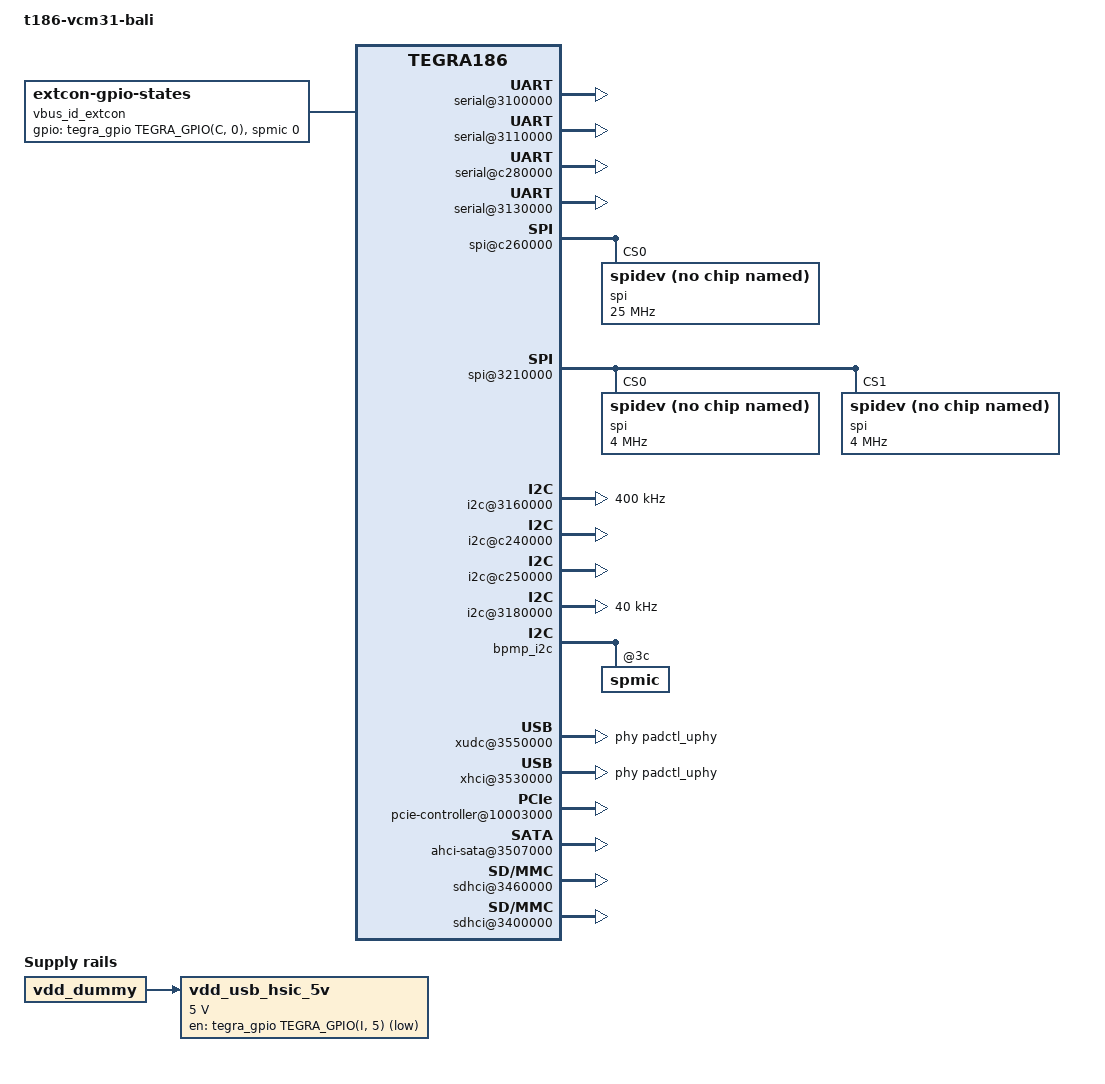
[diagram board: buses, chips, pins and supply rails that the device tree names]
/*
 * tegra186-vcm31-bali-common.dtsi: VCM3.1 based bali(sunstreaker)
 * common dtsi.
 *
 * Copyright (c) 2015, NVIDIA CORPORATION.  All rights reserved.
 *
 * This program is free software; you can redistribute it and/or modify
 * it under the terms of the GNU General Public License as published by
 * the Free Software Foundation; version 2 of the License.
 *
 * This program is distributed in the hope that it will be useful, but WITHOUT
 * ANY WARRANTY; without even the implied warranty of MERCHANTABILITY or
 * FITNESS FOR A PARTICULAR PURPOSE.  See the GNU General Public License for
 * more details.
 */

#include <dt-bindings/types.h>
/dts-v1/;

/memreserve/ 0x80000000 0x00010000;

#include "tegra186-platforms/tegra186-vcm31.dtsi"
#include "tegra186-vcm31-bali-disp.dtsi"
#include "tegra186-platforms/tegra186-vcm31-power-tree-bali.dtsi"

/ {
        model = "t186-vcm31-bali";
        compatible = "nvidia,t186-vcm31-bali", "nvidia,tegra186";

        nvidia,dtbbuildtime = __DATE__, __TIME__;
        #address-cells = <2>;
        #size-cells = <2>;

	pmc@c360000 {
		io-pad-defaults {
			sdmmc1-hv {
				nvidia,enable-dynamic-pad-voltage;
			};
			sdmmc3-hv {
				nvidia,enable-dynamic-pad-voltage;
			};
		};
	};

        serial@3100000 { /* Tegra UARTA: CSB */
		compatible = "nvidia,tegra186-hsuart";
                status = "okay";
        };

        serial@3110000 { /* Tegra UARTB: DEBUG */
		compatible = "nvidia,tegra210-uart";
                status = "okay";
        };

	serial@c280000 { /* TEGRA UARTC: Bluetooth */
		compatible = "nvidia,tegra186-hsuart";
		nvidia,adjust-baud-rates = <115200 170
					    3000000 170>;
		status = "okay";
	};

	serial@3130000 { /* Tegra UARTD: RH */
		compatible = "nvidia,tegra186-hsuart";
		status = "okay";
	};

	spi@c260000 { /* Tegra SPI1: RH, slave */
		status = "okay";
		compatible = "nvidia,tegra186-spi-slave";
		spi@0 {
			compatible = "spidev";
			/* reg = <0> - CS0 */
			/* reg = <1> - CS1 */
			reg = <0>;
			spi-max-frequency = <25000000>;
			spi-cpha;
			spi-cpol;
		};
	};

	spi@3210000 { /* Tegra SPI2: master */
		status = "okay";
		spi@0 {				/* gyro */
			compatible = "spidev";
			reg = <0>;
			spi-max-frequency = <4000000>;
			spi-cpha;
			spi-cpol;
			/* NOTE: spidev does not use this property */
			interrupts = <&tegra_gpio TEGRA_GPIO(EE,2) 0>;
		};
		spi@1 {				/* acc */
			compatible = "spidev";
			reg = <1>;
			spi-max-frequency = <4000000>;
			spi-cpha;
			spi-cpol;
			/* NOTE: spidev does not use this property */
			interrupts = <&tegra_gpio TEGRA_GPIO(U,5) 0>;
		};

	};

	i2c@3160000 { /* Tegra I2C1 (I2CA) */
		status = "okay";
		clock-frequency = <400000>;
		max9291@84 {	/* instrument */
			reg = <0x42>;
			compatible = "dummy";
		};
		tmp451@4c {	/* thermal sensor */
			reg = <0x26>;
			compatible = "dummy";
		};
		usb-hsic@58 {
			reg = <0x2c>;
			compatible = "dummy";
		};
		usb-hsic@5c {
			reg = <0x2e>;
			compatible = "dummy";
		};
	};

	i2c@c240000 { /* Tegra I2C2 (I2CB) */
		status = "okay";
		nvidia,clock-always-on;
		max9293@80 {	/* central display */
			reg = <0x40>;
			compatible = "dummy";
		};
	};

	i2c@c250000 { /* Tegra I2C8 (I2CC) */
		status = "okay";
		max9288@d0 {	/* RVC/parkman */
			reg = <0x68>;
			compatible = "dummy";
		};
		max9288@d4 {	/* AR camera   */
			reg = <0x6a>;
			compatible = "dummy";
		};
		max9288@d8 {
			reg = <0x6c>;
			compatible = "dummy";
		};
	};

	i2c@3180000 { /* Tegra I2C3 (I2CD) */
		status = "okay";
		clock-frequency = <40000>;
		apple {
			reg = <0x20>;
			compatible = "dummy";
		};
	};



	fixed-regulators {
		vdd_usb0_5v: regulator@7 {
			/delete-property/ enable-active-high;
			/delete-property/ gpio-open-drain;
		};

		vdd_usb1_5v: regulator@8 {
			/delete-property/ enable-active-high;
			/delete-property/ gpio-open-drain;
		};

		vdd_wlan1_bt: regulator@99 {
			status = "okay";
			gpio = <&tegra_gpio TEGRA_GPIO(N, 3) 0
				&tegra_gpio TEGRA_GPIO(X, 6) 0 >;
		};
		vdd_wlan2: regulator@98 {
			status = "okay";
			gpio = <&tegra_gpio TEGRA_GPIO(X, 4) 0>;
		};

                vdd_usb_hsic_5v: regulator@97 {
                        compatible = "regulator-fixed";
                        reg = <97>;
                        regulator-name = "vdd-usb-hsic-5v";
                        regulator-min-microvolt = <5000000>;
                        regulator-max-microvolt = <5000000>;
                        gpio = <&tegra_gpio TEGRA_GPIO(I, 5) 0>;
                        vin-supply = <&vdd_dummy>;
                };
	};

	padctl_uphy: pinctrl@3520000 {
		status = "okay";
		pinctrl-0 = <&bali_uphy_default>;
		pinctrl-names = "default";
		vbus-1-supply = <&vdd_usb0_5v>;
		vbus-2-supply = <&vdd_usb1_5v>;
		vbus-3-supply = <&vdd_dummy>;
		vddio-hsic-supply= <&vdd_usb_hsic_5v>;
		bali_uphy_default: pinmux {
			usb2-std-A-port1 {
				nvidia,lanes = "otg-0";
				nvidia,function = "xusb";
				nvidia,port-cap = <TEGRA_PADCTL_PORT_OTG_CAP>;
			};
			usb2-std-A-port2 {
				nvidia,lanes = "otg-1";
				nvidia,function = "xusb";
				nvidia,port-cap = <TEGRA_PADCTL_PORT_HOST_ONLY>;
			};
			usb2-inic {
				nvidia,lanes = "otg-2";
				nvidia,function = "xusb";
				nvidia,port-cap = <TEGRA_PADCTL_PORT_HOST_ONLY>;
			};
			hsic {
				nvidia,lanes = "hsic-0";
				nvidia,function = "hsic";
			};
			pcie {
				nvidia,lanes = "uphy-lane-3", "uphy-lane-4";
				nvidia,function = "pcie";
				nvidia,pcie-controller = <0>;
			};
			sata {
				nvidia,lanes = "uphy-lane-5";
				nvidia,function = "sata";
			};
		};
	};

	bpmp_i2c {
		spmic: spmic@3c {
			pinctrl-names = "default";
			pinctrl-0 = <&spmic_default>;
			spmic_default: pinmux@0 {
				pin_gpio0 { /* USB ID */
					pins = "gpio0";
					function = "gpio";
				};
			};
		};
	};

	extcon {
		compatible = "simple-bus";
		device_type = "external-connection";
		#address-cells = <1>;
		#size-cells = <0>;

		vbus_id_extcon: extcon@1 {
			compatible = "extcon-gpio-states";
			reg = <0x1>;
			extcon-gpio,name = "VBUS";
			/*
			 * Array of gstate,cstate pairs. Each pair shows how to
			 * map GPIO signal values into cable values as defined
			 * by the consumer in question.  Here:
			 *
			 * cstate[x].bit0 -> VBUS cable
			 * cstate[x].bit1 -> nID cable
			 *
			 * Since we don't support VBUS sensing, in gadget mode
			 * (cstate[x].bit1 == 0), set cstate[x].bit0 to 1.
			 */
			extcon-gpio,cable-states = <0x3 0x1
						0x0 0x2
						0x1 0x2
						0x2 0x1>;
			/* C.00 is an unused GPIO in our reference platform */
			gpios = <&tegra_gpio TEGRA_GPIO(C, 0) 0 &spmic 0 0>;
			extcon-gpio,out-cable-names = "USB", "USB-Host";
			#extcon-cells = <1>;
		};
	};

	mailbox@3538000 {
		status = "okay";
	};

	xudc@3550000 {
		status = "okay";
		extcon-cables = <&vbus_id_extcon 0>;
		extcon-cable-names = "vbus";
		#extcon-cells = <1>;
		phys = <&padctl_uphy TEGRA_PADCTL_UPHY_UTMI_P(0)>;
		phy-names = "usb2";
	};

	xhci@3530000 {
		status = "okay";
		extcon-cables = <&vbus_id_extcon 1>;
		extcon-cable-names = "id";
		#extcon-cells = <1>;
		phys = <&padctl_uphy TEGRA_PADCTL_UPHY_UTMI_P(0)>,
			<&padctl_uphy TEGRA_PADCTL_UPHY_UTMI_P(1)>,
			<&padctl_uphy TEGRA_PADCTL_UPHY_UTMI_P(2)>;
		phy-names = "utmi-0", "utmi-1", "utmi-2";
	};

	pcie-controller@10003000 {
		status = "okay";
	};

	ahci-sata@3507000 {
		status = "okay";
	};

	sdhci@3460000 { /* SDMMC_D: Used for eMMC */
		status = "okay";
		uhs-mask = <0x60>;
	};

	sdhci@3440000 { /* SDMMC_C  sd card 4-bit*/
		status = "disabled";

                nvidia,sd-device;
		/* 79: enable SDR25, SDR50 ... */
                uhs-mask = <0x79>;
                mmc-ocr-mask = <0x0>;
                cap-sdio-irq;
                disable-clock-gate;
		vddio_sdmmc-supply = <&vdd_wlan2>;
	};

	sdhci@3400000 { /* SDMMC_A  sd card 4-bit*/
		status = "okay";

                nvidia,sd-device;
		/* 79: enable SDR25, SDR50 ... */
                uhs-mask = <0x79>;
                mmc-ocr-mask = <0x0>;
                cap-sdio-irq;
                disable-clock-gate;
		vddio_sdmmc-supply = <&vdd_wlan1_bt>;
	};

	adma@2930000 {
		dma-channels = <10>;
	};

	sound_ref {
		status = "okay";
		compatible = "nvidia,tegra-audio-t186ref-p2382";
		nvidia,model = "tegra186-snd-p2382";
		clocks =<&tegra_car TEGRA186_CLK_PLLP_AUDIO>,
			<&tegra_car TEGRA186_CLK_PLLA>,
			<&tegra_car TEGRA186_CLK_PLL_A_OUT0>,
			<&tegra_car TEGRA186_CLK_CLK_M>,
			<&tegra_car TEGRA186_CLK_AUD_MCLK>;
		clock-names = "pll_p_out1", "pll_a", "pll_a_out0", "clk_m",
			"extern1";
		resets = <&tegra_car TEGRA186_RESET_AUD_MCLK>;
		reset-names = "extern1_rst";
		nvidia,num-codec-link = <3>;
		nvidia,num-amx = <4>;
		nvidia,num-adx = <4>;
		nvidia,amx-slot-size = <32 32 32 32>;
		nvidia,adx-slot-size = <32 32 32 32>;
		nvidia,amx1-slot-map = <
			/* slot 0 - Hi */
			TDM_SLOT_MAP(0, 1, 0)
			TDM_SLOT_MAP(0, 1, 1)
			/* slot 1 - Hi */
			TDM_SLOT_MAP(0, 2, 0)
			TDM_SLOT_MAP(0, 2, 1)
			/* slot 2 - Hi */
			TDM_SLOT_MAP(1, 1, 0)
			TDM_SLOT_MAP(1, 1, 1)
			/* slot 3 - Hi */
			TDM_SLOT_MAP(1, 2, 0)
			TDM_SLOT_MAP(1, 2, 1)
			/* slot 4 - Hi */
			TDM_SLOT_MAP(2, 1, 0)
			TDM_SLOT_MAP(2, 1, 1)
			/* slot 5 - Hi */
			TDM_SLOT_MAP(2, 2, 0)
			TDM_SLOT_MAP(2, 2, 1)
			/* slot 6 - Hi */
			TDM_SLOT_MAP(3, 1, 0)
			TDM_SLOT_MAP(3, 1, 1)
			/* slot 7 - Hi */
			TDM_SLOT_MAP(3, 2, 0)
			TDM_SLOT_MAP(3, 2, 1)
			/* slot 0 to 7 - Low */
			TDM_SLOT_MAP(0, 0, 0)
			TDM_SLOT_MAP(0, 0, 0)
			TDM_SLOT_MAP(0, 0, 0)
			TDM_SLOT_MAP(0, 0, 0)
			TDM_SLOT_MAP(0, 0, 0)
			TDM_SLOT_MAP(0, 0, 0)
			TDM_SLOT_MAP(0, 0, 0)
			TDM_SLOT_MAP(0, 0, 0)
			TDM_SLOT_MAP(0, 0, 0)
			TDM_SLOT_MAP(0, 0, 0)
			TDM_SLOT_MAP(0, 0, 0)
			TDM_SLOT_MAP(0, 0, 0)
			TDM_SLOT_MAP(0, 0, 0)
			TDM_SLOT_MAP(0, 0, 0)
			TDM_SLOT_MAP(0, 0, 0)
			TDM_SLOT_MAP(0, 0, 0)>;

		nvidia,adx1-slot-map = <
			/* slot 0 - Hi */
			TDM_SLOT_MAP(0, 1, 0)
			TDM_SLOT_MAP(0, 1, 1)
			/* slot 1 - Hi */
			TDM_SLOT_MAP(0, 2, 0)
			TDM_SLOT_MAP(0, 2, 1)
			/* slot 2 - Hi */
			TDM_SLOT_MAP(1, 1, 0)
			TDM_SLOT_MAP(1, 1, 1)
			/* slot 3 - Hi */
			TDM_SLOT_MAP(1, 2, 0)
			TDM_SLOT_MAP(1, 2, 1)
			/* slot 4 - Hi */
			TDM_SLOT_MAP(2, 1, 0)
			TDM_SLOT_MAP(2, 1, 1)
			/* slot 5 - Hi */
			TDM_SLOT_MAP(2, 2, 0)
			TDM_SLOT_MAP(2, 2, 1)
			/* slot 6 - Hi */
			TDM_SLOT_MAP(3, 1, 0)
			TDM_SLOT_MAP(3, 1, 1)
			/* slot 7 - Hi */
			TDM_SLOT_MAP(3, 2, 0)
			TDM_SLOT_MAP(3, 2, 1)
			/* slot 0 to 7 - Low */
			/* slot 0 to 7 - Low */
			TDM_SLOT_MAP(0, 0, 0)
			TDM_SLOT_MAP(0, 0, 0)
			TDM_SLOT_MAP(0, 0, 0)
			TDM_SLOT_MAP(0, 0, 0)
			TDM_SLOT_MAP(0, 0, 0)
			TDM_SLOT_MAP(0, 0, 0)
			TDM_SLOT_MAP(0, 0, 0)
			TDM_SLOT_MAP(0, 0, 0)
			TDM_SLOT_MAP(0, 0, 0)
			TDM_SLOT_MAP(0, 0, 0)
			TDM_SLOT_MAP(0, 0, 0)
			TDM_SLOT_MAP(0, 0, 0)
			TDM_SLOT_MAP(0, 0, 0)
			TDM_SLOT_MAP(0, 0, 0)
			TDM_SLOT_MAP(0, 0, 0)
			TDM_SLOT_MAP(0, 0, 0)>;

		nvidia,audio-routing =
			"Headphone-x", "x OUT",
			"x IN", "LineIn-x",
			"Headphone-y", "y OUT",
			"y IN", "LineIn-y",
			"Headphone-d", "d OUT",
			"d IN", "LineIn-d";

		nvidia,xbar = <&tegra_axbar>;

		nvidia,dai-link-1 {
			link-name = "p2382-audio-dsp-tdm1-1";
			cpu-dai = <&tegra_i2s3>;
			codec-dai = <&spdif_dit0>;
			cpu-dai-name = "I2S3";
			codec-dai-name = "dit-hifi";
			tx-mask = <0xFF>;
			rx-mask = <0xFF>;
			format = "dsp_a";
			bitclock-master;
			frame-master;
			bitclock-noninversion;
			frame-noninversion;
			bit-format = "s32_le";
			bclk_ratio = <1>;
			srate = <48000>;
			num-channel = <8>;
			name-prefix = "x";
			codec = "0.spdif-dit.0";
		};

		nvidia,dai-link-2 {
			link-name = "p2382-audio-dsp-tdm1-2";
			cpu-dai = <&tegra_i2s4>;
			codec-dai = <&spdif_dit1>;
			cpu-dai-name = "I2S4";
			codec-dai-name = "dit-hifi";
			tx-mask = <0xFF>;
			rx-mask = <0xFF>;
			format = "dsp_a";
			bitclock-master;
			frame-master;
			bitclock-noninversion;
			frame-noninversion;
			bit-format = "s32_le";
			bclk_ratio = <1>;
			srate = <48000>;
			num-channel = <8>;
			name-prefix = "y";
			codec = "1.spdif-dit.1";
		};

		nvidia,dai-link-3 {
			link-name = "dummy-playback";
			cpu-dai = <&tegra_i2s1>;
			codec-dai = <&spdif_dit2>;
			cpu-dai-name = "I2S1";
			codec-dai-name = "dit-hifi";
			tx-mask = <0xFF>;
			rx-mask = <0xFF>;
			format = "dsp_a";
			bitclock-slave;
			frame-slave;
			bitclock-noninversion;
			frame-noninversion;
			bit-format = "s32_le";
			bclk_ratio = <1>;
			srate = <48000>;
			num-channel = <8>;
			name-prefix = "d";
			codec = "2.spdif-dit.2";
		};
	};

	adsp_audio {
		compr-ops = <0>;
		status = "okay";
		num-plugin = <2>;
		plugin-info-1 {
			plugin-name = "reverb";
			firmware-name = "libnvreverbfx.elf";
			widget-name = "REVERB";
			param-type = <2>; /* SNDRV_CTL_ELEM_TYPE_INTEGER */
		};
		plugin-info-2 {
			plugin-name = "wire";
			firmware-name = "libnvwirefx.elf";
			widget-name = "WIRE";
		};
	};
};

